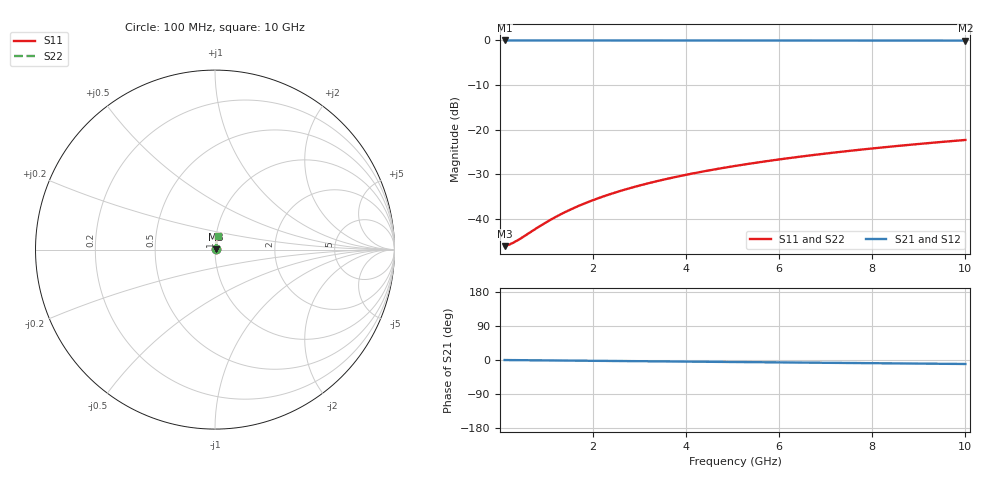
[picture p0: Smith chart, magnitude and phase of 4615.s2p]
# Hz S RI R 50.00
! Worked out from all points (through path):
!   100 points, 100 MHz to 10 GHz, reference 50 ohm
!   highest |S21| = -0.04 dB at 100 MHz (marker M1); lowest = -0.1 dB at 10 GHz (marker M2)
!   group delay of S21, straight-line fit = 2.92 ps
!   lowest |S11| = -46.1 dB at 100 MHz (marker M3), VSWR 1.01, Z = 50.5 + j0.0767 ohm
!   |S11| at or under -10 dB: start of sweep to end of sweep
!   |S22| runs from -46.1 to -22.3 dB; largest |S21 - S12| = 0
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1e8  0.00488 0.000759  0.9951 -0.00183  0.9951 -0.00183  0.00488 0.000759
2e8  0.00491 0.00152  0.9951 -0.00365  0.9951 -0.00365  0.00491 0.00152
3e8  0.00494 0.00228  0.995 -0.00548  0.995 -0.00548  0.00494 0.00228
4e8  0.00497 0.00304  0.995 -0.00731  0.995 -0.00731  0.00497 0.00304
9e8  0.00513 0.00683  0.9948 -0.0164  0.9948 -0.0164  0.00513 0.00683
1.2e9  0.00524 0.0091  0.9947 -0.0219  0.9947 -0.0219  0.00524 0.0091
1.5e9  0.00538 0.0114  0.9945 -0.0274  0.9945 -0.0274  0.00538 0.0114
1.8e9  0.00554 0.0136  0.9943 -0.0329  0.9943 -0.0329  0.00554 0.0136
2.1e9  0.00572 0.0159  0.994 -0.0383  0.994 -0.0383  0.00572 0.0159
2.5e9  0.006 0.0189  0.9936 -0.0456  0.9936 -0.0456  0.006 0.0189
2.9e9  0.00632 0.022  0.9932 -0.0529  0.9932 -0.0529  0.00632 0.022
3.4e9  0.00678 0.0257  0.9925 -0.062  0.9925 -0.062  0.00678 0.0257
3.8e9  0.0072 0.0287  0.9919 -0.0693  0.9919 -0.0693  0.0072 0.0287
4.2e9  0.00766 0.0317  0.9913 -0.0766  0.9913 -0.0766  0.00766 0.0317
4.6e9  0.00817 0.0347  0.9906 -0.0838  0.9906 -0.0838  0.00817 0.0347
5.1e9  0.00886 0.0384  0.9896 -0.0929  0.9896 -0.0929  0.00886 0.0384
5.9e9  0.0101 0.0444  0.9878 -0.1074  0.9878 -0.1074  0.0101 0.0444
6.7e9  0.0115 0.0502  0.9858 -0.1218  0.9858 -0.1218  0.0115 0.0502
7.5e9  0.0131 0.0561  0.9836 -0.1362  0.9836 -0.1362  0.0131 0.0561
8.4e9  0.0151 0.0626  0.9807 -0.1524  0.9807 -0.1524  0.0151 0.0626
9.2e9  0.0171 0.0683  0.978 -0.1666  0.978 -0.1666  0.0171 0.0683
1e10  0.0192 0.074  0.975 -0.1809  0.975 -0.1809  0.0192 0.074
